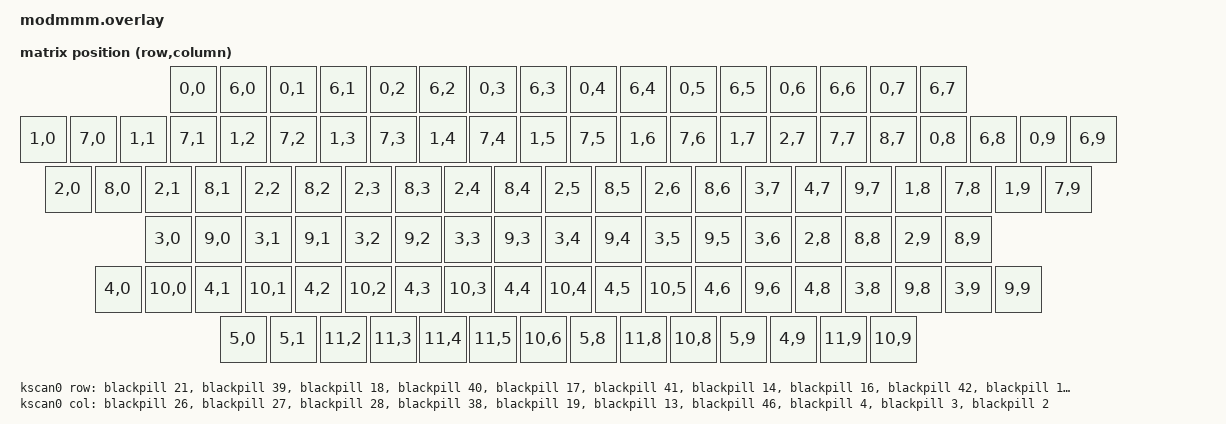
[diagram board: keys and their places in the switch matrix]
/*
 * Copyright (c) 2020 The ZMK Contributors
 *
 * SPDX-License-Identifier: MIT
 */

#include <dt-bindings/zmk/matrix_transform.h>

/ {
    chosen {
        zmk,kscan = &kscan0;
        zmk,matrix_transform = &default_transform;
    };

    default_transform: keymap_transform_0 {
        compatible = "zmk,matrix-transform";
        columns = <10>;
        rows = <12>;
        map = <
RC(0,0)       RC(6,0) RC(0,1) RC(6,1) RC(0,2)      RC(6,2) RC(0,3) RC(6,3) RC(0,4)      RC(6,4) RC(0,5) RC(6,5) RC(0,6)    RC(6,6) RC(0,7) RC(6,7)
RC(1,0) RC(7,0) RC(1,1) RC(7,1) RC(1,2) RC(7,2) RC(1,3) RC(7,3) RC(1,4) RC(7,4) RC(1,5) RC(7,5) RC(1,6) RC(7,6) RC(1,7)    RC(2,7) RC(7,7) RC(8,7)    RC(0,8) RC(6,8) RC(0,9) RC(6,9)
  RC(2,0) RC(8,0) RC(2,1) RC(8,1) RC(2,2) RC(8,2) RC(2,3) RC(8,3) RC(2,4) RC(8,4) RC(2,5) RC(8,5) RC(2,6) RC(8,6)          RC(3,7) RC(4,7) RC(9,7)    RC(1,8) RC(7,8) RC(1,9) RC(7,9)
    RC(3,0) RC(9,0) RC(3,1) RC(9,1) RC(3,2) RC(9,2) RC(3,3) RC(9,3) RC(3,4) RC(9,4) RC(3,5) RC(9,5) RC(3,6)                                           RC(2,8) RC(8,8) RC(2,9) RC(8,9)
RC(4,0) RC(10,0) RC(4,1) RC(10,1) RC(4,2) RC(10,2) RC(4,3) RC(10,3) RC(4,4) RC(10,4) RC(4,5) RC(10,5) RC(4,6) RC(9,6)             RC(4,8)             RC(3,8) RC(9,8) RC(3,9) RC(9,9)
RC(5,0)                      RC(5,1)     RC(11,2)     RC(11,3)     RC(11,4)     RC(11,5)                       RC(10,6)   RC(5,8) RC(11,8) RC(10,8)   RC(5,9) RC(4,9) RC(11,9) RC(10,9)
        >;
    };


    kscan0: kscan_0 {
        compatible = "zmk,kscan-gpio-matrix";
        label = "KSCAN";
        diode-direction = "col2row";

        row-gpios
            = <&blackpill 21 (GPIO_ACTIVE_HIGH | GPIO_PULL_DOWN)>
            , <&blackpill 39 (GPIO_ACTIVE_HIGH | GPIO_PULL_DOWN)>
            , <&blackpill 18 (GPIO_ACTIVE_HIGH | GPIO_PULL_DOWN)>
            , <&blackpill 40 (GPIO_ACTIVE_HIGH | GPIO_PULL_DOWN)>
            , <&blackpill 17 (GPIO_ACTIVE_HIGH | GPIO_PULL_DOWN)>
            , <&blackpill 41 (GPIO_ACTIVE_HIGH | GPIO_PULL_DOWN)>
            , <&blackpill 14 (GPIO_ACTIVE_HIGH | GPIO_PULL_DOWN)>
            , <&blackpill 16 (GPIO_ACTIVE_HIGH | GPIO_PULL_DOWN)>
            , <&blackpill 42 (GPIO_ACTIVE_HIGH | GPIO_PULL_DOWN)>
            , <&blackpill 15 (GPIO_ACTIVE_HIGH | GPIO_PULL_DOWN)>
            , <&blackpill 43 (GPIO_ACTIVE_HIGH | GPIO_PULL_DOWN)>
            , <&blackpill 45 (GPIO_ACTIVE_HIGH | GPIO_PULL_DOWN)>
            ;

        col-gpios
            = <&blackpill 26 GPIO_ACTIVE_HIGH>
            , <&blackpill 27 GPIO_ACTIVE_HIGH>
            , <&blackpill 28 GPIO_ACTIVE_HIGH>
            , <&blackpill 38 GPIO_ACTIVE_HIGH>
            , <&blackpill 19 GPIO_ACTIVE_HIGH>
            , <&blackpill 13 GPIO_ACTIVE_HIGH>
            , <&blackpill 46 GPIO_ACTIVE_HIGH>
            , <&blackpill 4 GPIO_ACTIVE_HIGH>
            , <&blackpill 3 GPIO_ACTIVE_HIGH>
            , <&blackpill 2 GPIO_ACTIVE_HIGH>
            ;
    };
};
